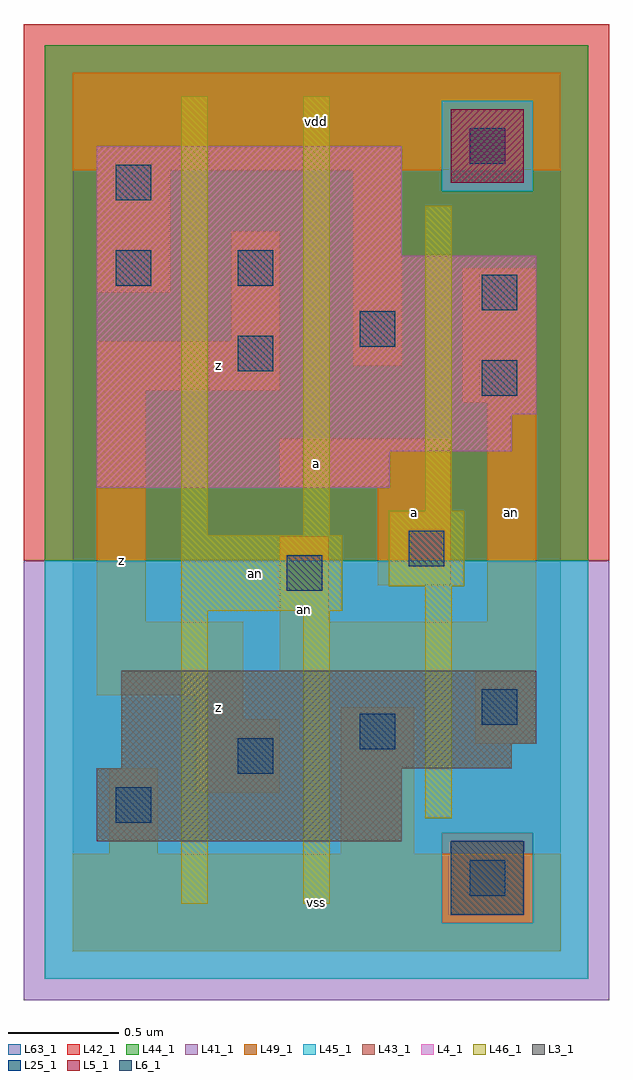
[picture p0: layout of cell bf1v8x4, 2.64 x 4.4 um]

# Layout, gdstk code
import gdstk
lib = gdstk.Library(unit=1e-6, precision=1e-09)
def R(c, l, rs):  # rectangles x0, y0, x1, y1
    for r in rs: c.add(gdstk.rectangle(r[:2], r[2:], *l))
L3_1 = (3, 1)
L4_1 = (4, 1)
L5_1 = (5, 1)
L6_1 = (6, 1)
L25_1 = (25, 1)
L41_1 = (41, 1)
L42_1 = (42, 1)
L43_1 = (43, 1)
L44_1 = (44, 1)
L45_1 = (45, 1)
L46_1 = (46, 1)
L49_1 = (49, 1)
L63_1 = (63, 1)

bf1v8x4 = lib.new_cell('bf1v8x4')
R(bf1v8x4, L3_1, [(0.11,0.495,1.485,0.825), (0.22,0.825,1.98,0.935), (0.22,0.935,2.09,1.265)])
R(bf1v8x4, L4_1, [(0.11,2.09,1.43,2.255), (0.11,2.255,1.98,2.42), (0.11,2.42,2.09,3.135), (0.11,3.135,1.485,3.63)])
R(bf1v8x4, L5_1, [(1.705,3.465,2.035,3.795)])
R(bf1v8x4, L6_1, [(1.705,0.165,2.035,0.495)])
R(bf1v8x4, L25_1, [(1.79,0.25,1.95,0.41), (0.195,0.58,0.355,0.74), (0.745,0.8,0.905,0.96), (1.295,0.91,1.455,1.07), (1.845,1.02,2.005,1.18), (0.965,1.625,1.125,1.785), (1.515,1.735,1.675,1.895), (1.845,2.505,2.005,2.665), (0.745,2.615,0.905,2.775), (1.295,2.725,1.455,2.885), (1.845,2.89,2.005,3.05), (0.195,3,0.355,3.16), (0.745,3,0.905,3.16), (0.195,3.385,0.355,3.545), (1.79,3.55,1.95,3.71)])
R(bf1v8x4, L41_1, [(-0.22,-0.22,2.42,1.76)])
R(bf1v8x4, L42_1, [(-0.22,1.76,2.42,4.18)])
R(bf1v8x4, L43_1, [(1.705,0.165,2.035,0.495), (0.11,0.495,1.485,0.825), (0.22,0.825,1.98,0.935), (0.22,0.935,2.09,1.265), (0.11,2.09,1.43,2.255), (0.11,2.255,1.98,2.42), (0.11,2.42,2.09,3.135), (0.11,3.135,1.485,3.63), (1.705,3.465,2.035,3.795)])
R(bf1v8x4, L44_1, [(1.665,0.125,2.075,0.535), (-0.125,1.76,2.325,3.425), (-0.125,3.425,1.665,3.835), (2.075,3.425,2.325,3.835), (-0.125,3.835,2.325,4.085)])
R(bf1v8x4, L45_1, [(-0.125,-0.125,2.325,0.125), (-0.125,0.125,1.665,0.535), (2.075,0.125,2.325,0.535), (-0.125,0.535,2.325,1.76), (1.665,3.425,2.075,3.835)])
R(bf1v8x4, L46_1, [(0.49,0.215,0.61,1.535), (1.04,0.215,1.16,1.535), (1.59,0.6,1.71,1.645), (0.49,1.535,1.215,1.875), (1.425,1.645,1.765,1.985), (0.49,1.875,0.61,3.855), (1.04,1.875,1.16,3.855), (1.59,1.985,1.71,3.36)])
R(bf1v8x4, L49_1, [(0,0,2.2,0.44), (0.165,0.44,0.385,0.825), (1.21,0.44,1.54,1.1), (0.55,0.715,0.935,1.045), (1.815,0.935,2.09,1.265), (0.55,1.045,0.77,1.155), (0.11,1.155,0.77,1.485), (0.935,1.265,2.09,1.485), (0.11,1.485,0.33,2.53), (0.935,1.485,1.155,1.87), (1.87,1.485,2.09,2.475), (1.375,1.65,1.705,2.09), (0.935,2.09,1.705,2.31), (1.76,2.475,2.09,3.08), (0.11,2.53,0.935,2.75), (1.265,2.64,1.485,3.52), (0.715,2.75,0.935,3.245), (0.11,2.97,0.44,3.52), (0,3.52,2.2,3.96)])
R(bf1v8x4, L63_1, [(0,0,2.2,3.96)])
bf1v8x4.add(gdstk.Label('an', (0.825,1.705), layer=46, texttype=1))
bf1v8x4.add(gdstk.Label('z', (0.22,1.76), layer=49, texttype=1))
bf1v8x4.add(gdstk.Label('z', (0.66,1.1), layer=49, texttype=1))
bf1v8x4.add(gdstk.Label('z', (0.66,2.64), layer=49, texttype=1))
bf1v8x4.add(gdstk.Label('vss', (1.1,0.22), layer=49, texttype=1))
bf1v8x4.add(gdstk.Label('an', (1.045,1.54), layer=49, texttype=1))
bf1v8x4.add(gdstk.Label('a', (1.54,1.98), layer=49, texttype=1))
bf1v8x4.add(gdstk.Label('a', (1.1,2.2), layer=49, texttype=1))
bf1v8x4.add(gdstk.Label('vdd', (1.1,3.74), layer=49, texttype=1))
bf1v8x4.add(gdstk.Label('an', (1.98,1.98), layer=49, texttype=1))

lib.write_gds('bf1v8x4.gds')
